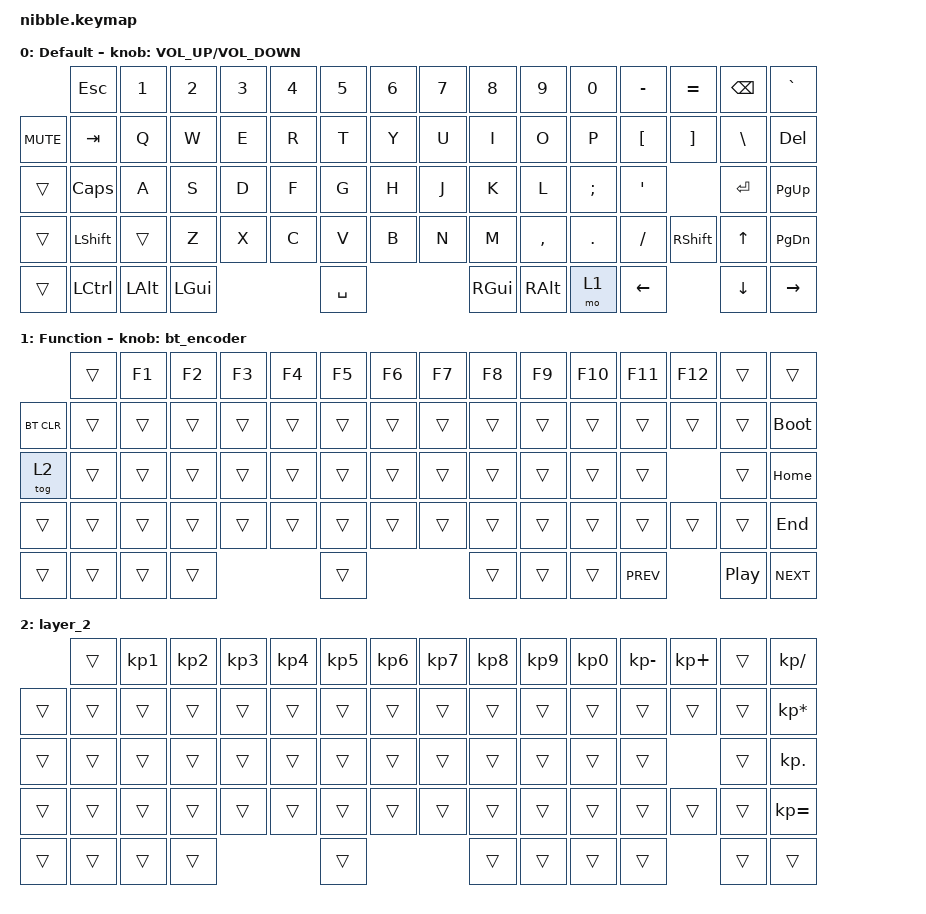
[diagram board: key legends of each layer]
/*
 * Copyright (c) 2020 The ZMK Contributors
 *
 * SPDX-License-Identifier: MIT
 */

#include <behaviors.dtsi>
#include <dt-bindings/zmk/bt.h>
#include <dt-bindings/zmk/keys.h>

/ {
    behaviors {
        bt_encoder: bt_encoder {
            compatible = "zmk,behavior-sensor-rotate";
            #sensor-binding-cells = <0>;
            bindings = <&bt BT_NXT>, <&bt BT_PRV>;
        };
    };

    sensors: sensors {
        compatible = "zmk,keymap-sensors";
        sensors = <&encoder_1>;
        triggers-per-rotation = <20>;
    };

    keymap {
        compatible = "zmk,keymap";

        default_layer {
            display-name = "Default";
            sensor-bindings = <&inc_dec_kp C_VOLUME_UP C_VOLUME_DOWN>;
            bindings = <
            &kp ESC    &kp N1        &kp N2        &kp N3  &kp N4  &kp N5     &kp N6  &kp N7  &kp N8    &kp N9     &kp N0    &kp MINUS  &kp EQUAL  &kp BSPC  &kp GRAVE
&kp C_MUTE  &kp TAB    &kp Q         &kp W         &kp E   &kp R   &kp T      &kp Y   &kp U   &kp I     &kp O      &kp P     &kp LBKT   &kp RBKT   &kp BSLH  &kp DEL
&trans      &kp CLCK   &kp A         &kp S         &kp D   &kp F   &kp G      &kp H   &kp J   &kp K     &kp L      &kp SEMI  &kp SQT               &kp RET   &kp PG_UP
&trans      &kp LSHFT  &trans        &kp Z         &kp X   &kp C   &kp V      &kp B   &kp N   &kp M     &kp COMMA  &kp DOT   &kp FSLH   &kp RSHFT  &kp UP    &kp PG_DN
&trans      &kp LCTRL  &kp LEFT_ALT  &kp LEFT_GUI                  &kp SPACE                  &kp RGUI  &kp RALT   &mo 1     &kp LEFT              &kp DOWN  &kp RIGHT
            >;
        };

        function_layer {
            display-name = "Function";
            sensor-bindings = <&bt_encoder>;
            bindings = <
            &trans  &kp F1  &kp F2  &kp F3  &kp F4  &kp F5  &kp F6  &kp F7  &kp F8  &kp F9  &kp F10  &kp F11     &kp F12  &trans    &trans
&bt BT_CLR  &trans  &trans  &trans  &trans  &trans  &trans  &trans  &trans  &trans  &trans  &trans   &trans      &trans   &trans    &bootloader
&tog 2      &trans  &trans  &trans  &trans  &trans  &trans  &trans  &trans  &trans  &trans  &trans   &trans               &trans    &kp HOME
&trans      &trans  &trans  &trans  &trans  &trans  &trans  &trans  &trans  &trans  &trans  &trans   &trans      &trans   &trans    &kp END
&trans      &trans  &trans  &trans                  &trans                  &trans  &trans  &trans   &kp C_PREV           &kp C_PP  &kp C_NEXT
            >;
        };

        layer_2 {
            bindings = <
        &trans  &kp KP_NUMBER_1  &kp KP_NUMBER_2  &kp KP_NUMBER_3  &kp KP_NUMBER_4  &kp KP_NUMBER_5  &kp KP_NUMBER_6  &kp KP_NUMBER_7  &kp KP_NUMBER_8  &kp KP_NUMBER_9  &kp KP_NUMBER_0  &kp KP_SUBTRACT  &kp KP_PLUS  &trans  &kp KP_DIVIDE
&trans  &trans  &trans           &trans           &trans           &trans           &trans           &trans           &trans           &trans           &trans           &trans           &trans           &trans       &trans  &kp KP_MULTIPLY
&trans  &trans  &trans           &trans           &trans           &trans           &trans           &trans           &trans           &trans           &trans           &trans           &trans                        &trans  &kp KP_DOT
&trans  &trans  &trans           &trans           &trans           &trans           &trans           &trans           &trans           &trans           &trans           &trans           &trans           &trans       &trans  &kp KP_EQUAL
&trans  &trans  &trans           &trans                                             &trans                                             &trans           &trans           &trans           &trans                        &trans  &trans
            >;
        };
    };
};
